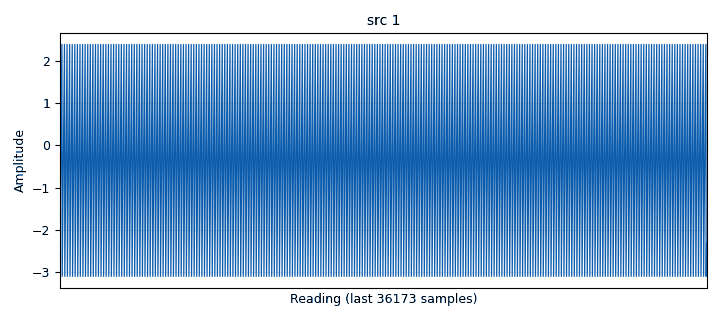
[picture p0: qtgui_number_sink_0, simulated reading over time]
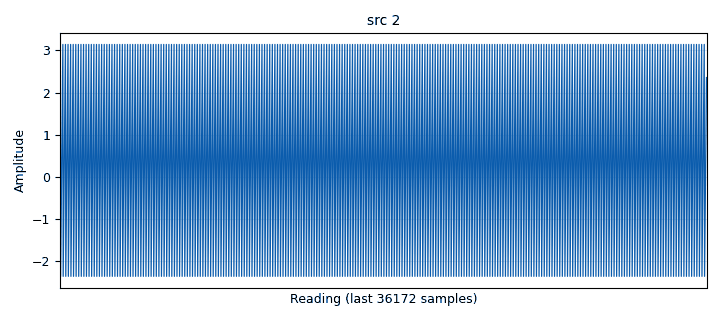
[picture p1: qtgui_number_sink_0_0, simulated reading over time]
options:
  parameters:
    author: mhetu
    generate_options: qt_gui
    id: phase_diff_sim
    output_language: python
    title: Not titled yet
  states: {}

blocks:
- name: samp_rate
  id: variable
  parameters:
    value: '128000'
  states: {}
- name: analog_sig_source_x_0
  id: analog_sig_source_x
  parameters:
    amp: '1'
    freq: '8000'
    offset: '0'
    phase: '2'
    samp_rate: samp_rate
    type: complex
    waveform: analog.GR_COS_WAVE
  states: {}
- name: analog_sig_source_x_1
  id: analog_sig_source_x
  parameters:
    amp: '1'
    freq: '8000'
    offset: '0'
    phase: '0'
    samp_rate: samp_rate
    type: complex
    waveform: analog.GR_COS_WAVE
  states: {}
- name: blocks_complex_to_arg_1
  id: blocks_complex_to_arg
  parameters: {}
  states: {}
- name: blocks_complex_to_arg_1_0
  id: blocks_complex_to_arg
  parameters: {}
  states: {}
- name: blocks_complex_to_arg_1_1
  id: blocks_complex_to_arg
  parameters: {}
  states: {}
- name: blocks_multiply_conjugate_cc_0
  id: blocks_multiply_conjugate_cc
  parameters: {}
  states: {}
- name: blocks_sub_xx_0
  id: blocks_sub_xx
  parameters:
    type: float
  states: {}
- name: blocks_throttle_0
  id: blocks_throttle
  parameters:
    samples_per_second: samp_rate
    type: complex
  states: {}
- name: qtgui_number_sink_0
  id: qtgui_number_sink
  parameters:
    graph_type: qtgui.NUM_GRAPH_HORIZ
    max: '4'
    min: '-4'
    name: '"src 1"'
    type: float
    update_time: '100'
  states: {}
- name: qtgui_number_sink_0_0
  id: qtgui_number_sink
  parameters:
    graph_type: qtgui.NUM_GRAPH_HORIZ
    max: '4'
    min: '-4'
    name: '"src 2"'
    type: float
    update_time: '100'
  states: {}
- name: qtgui_number_sink_0_0_0
  id: qtgui_number_sink
  parameters:
    graph_type: qtgui.NUM_GRAPH_HORIZ
    max: '4'
    min: '-4'
    name: '"sub"'
    type: float
    update_time: '100'
  states: {}
- name: qtgui_number_sink_1
  id: qtgui_number_sink
  parameters:
    graph_type: qtgui.NUM_GRAPH_HORIZ
    max: '4'
    min: '-4'
    name: '"diff"'
    type: float
  states: {}

connections:
- [analog_sig_source_x_0, '0', blocks_complex_to_arg_1_0, '0']
- [analog_sig_source_x_0, '0', blocks_multiply_conjugate_cc_0, '0']
- [analog_sig_source_x_1, '0', blocks_complex_to_arg_1_1, '0']
- [analog_sig_source_x_1, '0', blocks_multiply_conjugate_cc_0, '1']
- [blocks_complex_to_arg_1, '0', qtgui_number_sink_1, '0']
- [blocks_complex_to_arg_1_0, '0', blocks_sub_xx_0, '0']
- [blocks_complex_to_arg_1_0, '0', qtgui_number_sink_0, '0']
- [blocks_complex_to_arg_1_1, '0', blocks_sub_xx_0, '1']
- [blocks_complex_to_arg_1_1, '0', qtgui_number_sink_0_0, '0']
- [blocks_multiply_conjugate_cc_0, '0', blocks_throttle_0, '0']
- [blocks_sub_xx_0, '0', qtgui_number_sink_0_0_0, '0']
- [blocks_throttle_0, '0', blocks_complex_to_arg_1, '0']

metadata:
  file_format: 1
  grc_version: 3.9.8.0-rc1
